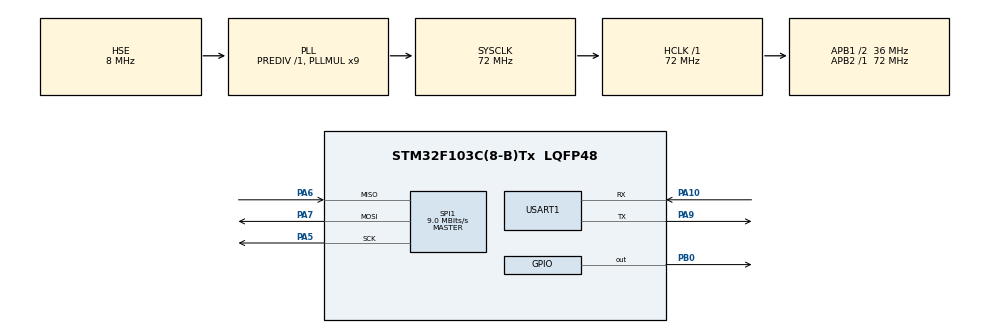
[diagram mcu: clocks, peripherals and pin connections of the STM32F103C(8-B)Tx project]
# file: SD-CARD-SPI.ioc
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FATFS._MAX_SS=4096
FATFS._USE_LFN=1
Mcu.Family=STM32F1
Mcu.Name=STM32F103C(8-B)Tx
Mcu.Package=LQFP48
NVIC.PriorityGroup=NVIC_PRIORITYGROUP_4
PA10.Mode=Asynchronous
PA10.Signal=USART1_RX
PA13.Mode=Serial_Wire
PA13.Signal=SYS_JTMS-SWDIO
PA14.Mode=Serial_Wire
PA14.Signal=SYS_JTCK-SWCLK
PA5.Mode=Full_Duplex_Master
PA5.Signal=SPI1_SCK
PA6.Mode=Full_Duplex_Master
PA6.Signal=SPI1_MISO
PA7.Mode=Full_Duplex_Master
PA7.Signal=SPI1_MOSI
PA9.Mode=Asynchronous
PA9.Signal=USART1_TX
PB0.Signal=GPIO_Output
PD0-OSC_IN.Mode=HSE-External-Oscillator
PD0-OSC_IN.Signal=RCC_OSC_IN
PD1-OSC_OUT.Mode=HSE-External-Oscillator
PD1-OSC_OUT.Signal=RCC_OSC_OUT
ProjectManager.HeapSize=0x200
ProjectManager.StackSize=0x400
ProjectManager.TargetToolchain=MDK-ARM V5
RCC.AHBFreq_Value=72000000
RCC.APB1CLKDivider=RCC_HCLK_DIV2
RCC.APB1Freq_Value=36000000
RCC.APB1TimFreq_Value=72000000
RCC.APB2Freq_Value=72000000
RCC.APB2TimFreq_Value=72000000
RCC.HCLKFreq_Value=72000000
RCC.PLLMUL=RCC_PLL_MUL9
RCC.PLLSourceVirtual=RCC_PLLSOURCE_HSE
RCC.SYSCLKFreq_VALUE=72000000
RCC.SYSCLKSource=RCC_SYSCLKSOURCE_PLLCLK
RCC.USBFreq_Value=72000000
SPI1.BaudRatePrescaler=SPI_BAUDRATEPRESCALER_8
SPI1.CalculateBaudRate=9.0 MBits/s
SPI1.Direction=SPI_DIRECTION_2LINES
SPI1.Mode=SPI_MODE_MASTER
SPI1.VirtualType=VM_MASTER
USART1.VirtualMode=VM_ASYNC
VP_FATFS_VS_Generic.Mode=User_defined
board=custom

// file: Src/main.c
/* USER CODE BEGIN Header */
/**
  ******************************************************************************
  * @file           : main.c
  * @brief          : Main program body
  ******************************************************************************
  * @attention
  *
  * <h2><center>&copy; Copyright (c) 2019 STMicroelectronics.
  * All rights reserved.</center></h2>
  *
  * This software component is licensed by ST under BSD 3-Clause license,
  * the "License"; You may not use this file except in compliance with the
  * License. You may obtain a copy of the License at:
  *                        opensource.org/licenses/BSD-3-Clause
  *
  ******************************************************************************
  */
/* USER CODE END Header */

#include "main.h"
#include "fatfs.h"

/* USER CODE BEGIN Includes */
#include "fatfs_sd.h"
#include "string.h"

/* USER CODE END Includes */

SPI_HandleTypeDef hspi1;

UART_HandleTypeDef huart1;

void SystemClock_Config(void);
static void MX_GPIO_Init(void);
static void MX_SPI1_Init(void);
static void MX_USART1_UART_Init(void);

/* USER CODE BEGIN 0 */

FATFS fs;  // file system
FIL fil;  // file
FRESULT fresult;  // to store the result
char buffer[1024]; // to store data

UINT br, bw;   // file read/write count

/* capacity related variables */
FATFS *pfs;
DWORD fre_clust;
uint32_t total, free_space;

/* to send the data to the uart */
void send_uart (char *string)
{
	uint8_t len = strlen (string);
	HAL_UART_Transmit(&huart1, (uint8_t *) string, len, 2000);  // transmit in blocking mode
}

/* to find the size of data in the buffer */
int bufsize (char *buf)
{
	int i=0;
	while (*buf++ != '\0') i++;
	return i;
}

void bufclear (void)  // clear buffer
{
	for (int i=0; i<1024; i++)
	{
		buffer[i] = '\0';
	}
}

/* USER CODE END 0 */

int main(void)
{

  /* MCU Configuration--------------------------------------------------------*/

  /* Reset of all peripherals, Initializes the Flash interface and the Systick. */
  HAL_Init();

  /* Configure the system clock */
  SystemClock_Config();

  /* Initialize all configured peripherals */
  MX_GPIO_Init();
  MX_SPI1_Init();
  MX_USART1_UART_Init();
  MX_FATFS_Init();
  /* USER CODE BEGIN 2 */

  /* Mount SD Card */
    fresult = f_mount(&fs, "", 0);
    if (fresult != FR_OK) send_uart ("error in mounting SD CARD...\n");
    else send_uart("SD CARD mounted successfully...\n");

    /*************** Card capacity details ********************/

        /* Check free space */
        f_getfree("", &fre_clust, &pfs);

        total = (uint32_t)((pfs->n_fatent - 2) * pfs->csize * 0.5);
        sprintf (buffer, "SD CARD Total Size: \t%lu\n",total);
        send_uart(buffer);
        bufclear();
        free_space = (uint32_t)(fre_clust * pfs->csize * 0.5);
        sprintf (buffer, "SD CARD Free Space: \t%lu\n",free_space);
        send_uart(buffer);

        /************* The following operation is using PUTS and GETS *********************/

        /* Open file to write/ create a file if it doesn't exist */
        fresult = f_open(&fil, "file1.txt", FA_OPEN_ALWAYS | FA_READ | FA_WRITE);

        /* Writing text */
        fresult = f_puts("This data is from the First FILE\n\n", &fil);

        /* Close file */
        fresult = f_close(&fil);

        send_uart ("File1.txt created and the data is written \n");

        /* Open file to read */
        fresult = f_open(&fil, "file1.txt", FA_READ);

        /* Read string from the file */
        f_gets(buffer, fil.fsize, &fil);

        send_uart(buffer);

        /* Close file */
        f_close(&fil);

        bufclear();

        /**************** The following operation is using f_write and f_read **************************/

        /* Create second file with read write access and open it */
        fresult = f_open(&fil, "file2.txt", FA_OPEN_ALWAYS | FA_READ | FA_WRITE);

        /* Writing text */
        strcpy (buffer, "This is File 2 and it says Hello from controllerstech\n");

        fresult = f_write(&fil, buffer, bufsize(buffer), &bw);

        send_uart ("File2.txt created and data is written\n");

        /* Close file */
        f_close(&fil);

        // clearing buffer to show that result obtained is from the file
        bufclear();

        /* Open second file to read */
        fresult = f_open(&fil, "file2.txt", FA_READ);

        /* Read data from the file
         * Please see the function details for the arguments */
        f_read (&fil, buffer, fil.fsize, &br);
        send_uart(buffer);

        /* Close file */
        f_close(&fil);

        bufclear();

        /*********************UPDATING an existing file ***************************/

        /* Open the file with write access */
        fresult = f_open(&fil, "file2.txt", FA_OPEN_ALWAYS | FA_WRITE);

        /* Move to offset to the end of the file */
        fresult = f_lseek(&fil, fil.fsize);

        /* write the string to the file */
        fresult = f_puts("This is updated data and it should be in the end \n", &fil);

        f_close (&fil);

        /* Open to read the file */
        fresult = f_open (&fil, "file2.txt", FA_READ);

        /* Read string from the file */
        f_read (&fil, buffer, fil.fsize, &br);
        send_uart(buffer);

        /* Close file */
        f_close(&fil);

        bufclear();

        /*************************REMOVING FILES FROM THE DIRECTORY ****************************/
				/*
        fresult = f_unlink("/file1.txt");
        if (fresult == FR_OK) send_uart("file1.txt removed successfully...\n");

        fresult = f_unlink("/file2.txt");
        if (fresult == FR_OK) send_uart("file2.txt removed successfully...\n");

        /* Unmount SDCARD */
				/*
        fresult = f_mount(NULL, "", 1);
        if (fresult == FR_OK) send_uart ("SD CARD UNMOUNTED successfully...\n");
				*/
  while (1)
  {
    /* USER CODE END WHILE */

  }
}

void SystemClock_Config(void)
{
  RCC_OscInitTypeDef RCC_OscInitStruct = {0};
  RCC_ClkInitTypeDef RCC_ClkInitStruct = {0};

  /** Initializes the CPU, AHB and APB busses clocks
  */
  RCC_OscInitStruct.OscillatorType = RCC_OSCILLATORTYPE_HSE;
  RCC_OscInitStruct.HSEState = RCC_HSE_ON;
  RCC_OscInitStruct.HSEPredivValue = RCC_HSE_PREDIV_DIV1;
  RCC_OscInitStruct.HSIState = RCC_HSI_ON;
  RCC_OscInitStruct.PLL.PLLState = RCC_PLL_ON;
  RCC_OscInitStruct.PLL.PLLSource = RCC_PLLSOURCE_HSE;
  RCC_OscInitStruct.PLL.PLLMUL = RCC_PLL_MUL9;
  if (HAL_RCC_OscConfig(&RCC_OscInitStruct) != HAL_OK)
  {
    Error_Handler();
  }
  /** Initializes the CPU, AHB and APB busses clocks
  */
  RCC_ClkInitStruct.ClockType = RCC_CLOCKTYPE_HCLK|RCC_CLOCKTYPE_SYSCLK
                              |RCC_CLOCKTYPE_PCLK1|RCC_CLOCKTYPE_PCLK2;
  RCC_ClkInitStruct.SYSCLKSource = RCC_SYSCLKSOURCE_PLLCLK;
  RCC_ClkInitStruct.AHBCLKDivider = RCC_SYSCLK_DIV1;
  RCC_ClkInitStruct.APB1CLKDivider = RCC_HCLK_DIV2;
  RCC_ClkInitStruct.APB2CLKDivider = RCC_HCLK_DIV1;

  if (HAL_RCC_ClockConfig(&RCC_ClkInitStruct, FLASH_LATENCY_2) != HAL_OK)
  {
    Error_Handler();
  }
}

static void MX_SPI1_Init(void)
{

  /* SPI1 parameter configuration*/
  hspi1.Instance = SPI1;
  hspi1.Init.Mode = SPI_MODE_MASTER;
  hspi1.Init.Direction = SPI_DIRECTION_2LINES;
  hspi1.Init.DataSize = SPI_DATASIZE_8BIT;
  hspi1.Init.CLKPolarity = SPI_POLARITY_LOW;
  hspi1.Init.CLKPhase = SPI_PHASE_1EDGE;
  hspi1.Init.NSS = SPI_NSS_SOFT;
  hspi1.Init.BaudRatePrescaler = SPI_BAUDRATEPRESCALER_8;
  hspi1.Init.FirstBit = SPI_FIRSTBIT_MSB;
  hspi1.Init.TIMode = SPI_TIMODE_DISABLE;
  hspi1.Init.CRCCalculation = SPI_CRCCALCULATION_DISABLE;
  hspi1.Init.CRCPolynomial = 10;
  if (HAL_SPI_Init(&hspi1) != HAL_OK)
  {
    Error_Handler();
  }

}

static void MX_USART1_UART_Init(void)
{

  huart1.Instance = USART1;
  huart1.Init.BaudRate = 115200;
  huart1.Init.WordLength = UART_WORDLENGTH_8B;
  huart1.Init.StopBits = UART_STOPBITS_1;
  huart1.Init.Parity = UART_PARITY_NONE;
  huart1.Init.Mode = UART_MODE_TX_RX;
  huart1.Init.HwFlowCtl = UART_HWCONTROL_NONE;
  huart1.Init.OverSampling = UART_OVERSAMPLING_16;
  if (HAL_UART_Init(&huart1) != HAL_OK)
  {
    Error_Handler();
  }

}

static void MX_GPIO_Init(void)
{
  GPIO_InitTypeDef GPIO_InitStruct = {0};

  /* GPIO Ports Clock Enable */
  __HAL_RCC_GPIOD_CLK_ENABLE();
  __HAL_RCC_GPIOA_CLK_ENABLE();
  __HAL_RCC_GPIOB_CLK_ENABLE();

  /*Configure GPIO pin Output Level */
  HAL_GPIO_WritePin(GPIOB, GPIO_PIN_0, GPIO_PIN_RESET);

  /*Configure GPIO pin : PB0 */
  GPIO_InitStruct.Pin = GPIO_PIN_0;
  GPIO_InitStruct.Mode = GPIO_MODE_OUTPUT_PP;
  GPIO_InitStruct.Pull = GPIO_NOPULL;
  GPIO_InitStruct.Speed = GPIO_SPEED_FREQ_LOW;
  HAL_GPIO_Init(GPIOB, &GPIO_InitStruct);

}

void Error_Handler(void)
{
}

/************************ (C) COPYRIGHT STMicroelectronics *****END OF FILE****/
